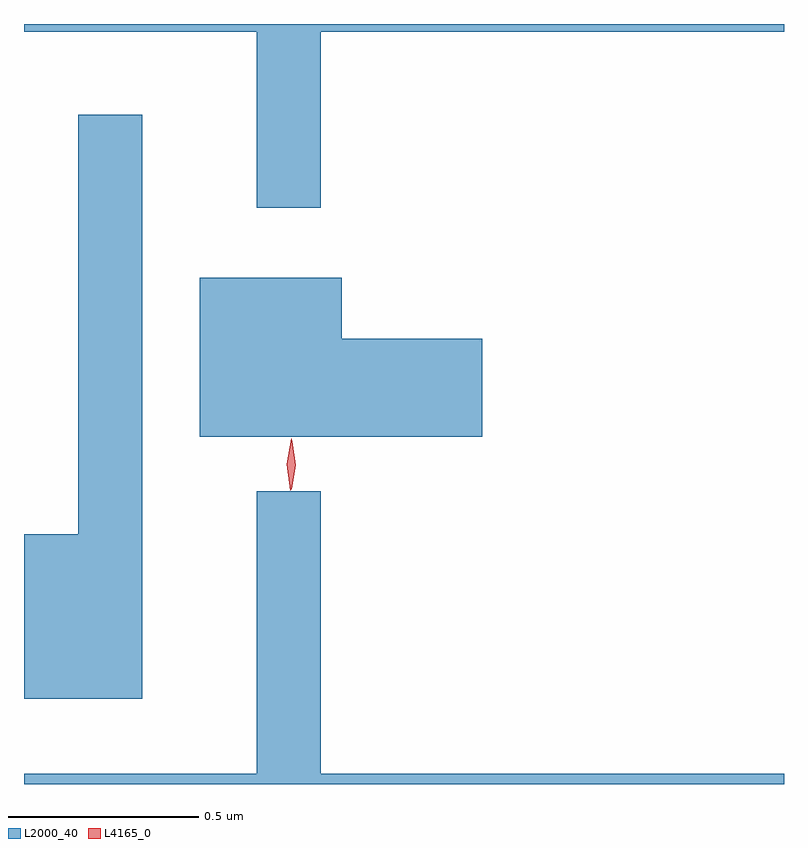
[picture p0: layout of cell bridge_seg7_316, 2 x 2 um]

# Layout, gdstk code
import gdstk
lib = gdstk.Library(unit=1e-6, precision=1e-09)
def P(c, l, *ps):  # polygons
    for p in ps: c.add(gdstk.Polygon(p, *l))
L2000_40 = (2000, 40)
L4165_0 = (4165, 0)

bridge_seg7_316 = lib.new_cell('bridge_seg7_316')
P(bridge_seg7_316, L2000_40, [(1412.389,1792.016),(1413.608,1792.016),(1413.608,1792.037),(1411.608,1792.037),(1411.608,1792.016),(1412.221,1792.016),(1412.221,1791.553),(1412.389,1791.553)],
  [(1411.919,1791.798),(1411.751,1791.798),(1411.751,1790.694),(1411.608,1790.694),(1411.608,1790.261),(1411.919,1790.261)],
  [(1412.814,1791.209),(1412.444,1791.209),(1412.444,1791.369),(1412.071,1791.369),(1412.071,1790.951),(1412.814,1790.951)],
  [(1413.608,1790.064),(1412.389,1790.064),(1412.389,1790.808),(1412.221,1790.808),(1412.221,1790.064),(1411.608,1790.064),(1411.608,1790.037),(1413.608,1790.037)])
P(bridge_seg7_316, L4165_0, [(1412.311,1790.813),(1412.303,1790.876),(1412.313,1790.939),(1412.314,1790.94),(1412.314,1790.939),(1412.323,1790.876),(1412.312,1790.813),(1412.312,1790.813)],
  [(1412.309,1790.81),(1412.3,1790.878),(1412.311,1790.945),(1412.311,1790.946),(1412.312,1790.945),(1412.32,1790.878),(1412.31,1790.81),(1412.31,1790.81)])

lib.write_gds('bridge_seg7_316.gds')
